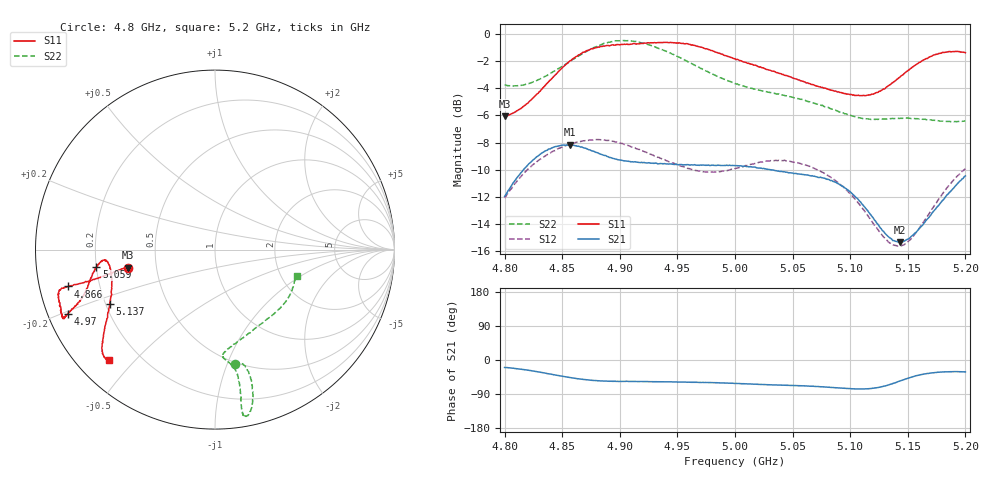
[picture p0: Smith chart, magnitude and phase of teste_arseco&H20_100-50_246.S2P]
! Network Analyzer HP8722D
! Hewlett-Packard
! Data name: Linha & Wilkinson
! Saver's name: Rodrigo Anjos
! Comments: Teste da utilização de aquisição
! continua pelo VNA HP8722D
! Time and date: 6/5/2025 14:37
!  Frequency  S11  S21  S12  S22
# HZ  S  MA R 50
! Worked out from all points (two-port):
!   401 points, 4.8 GHz to 5.2 GHz, reference 50 ohm
!   highest |S21| = -8.17 dB at 4.857 GHz (marker M1); lowest = -15.3 dB at 5.143 GHz (marker M2)
!   |S21| within 3 dB of the highest: 4.806 GHz to 5.092 GHz (286.2 MHz wide, 5.78 % of centre); 5.191623 GHz to end of sweep
!   lowest |S11| = -6.1 dB at 4.8 GHz (marker M3), VSWR 2.97, Z = 17 - j4.57 ohm
!   |S11| at or under -10 dB: nowhere
!   |S22| runs from -6.5 to -0.5 dB; largest |S21 - S12| = 0.62
!   S11 on the Smith chart (normalised r, x): 4.8 GHz: 0.34, -0.09; 4.866 GHz: 0.09, -0.12; 4.97 GHz: 0.06, -0.21; 5.059 GHz: 0.20, -0.07; 5.137 GHz: 0.22, -0.23; 5.2 GHz: 0.09, -0.42
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4.8e9  0.4967 -168.2  0.2523 -19.7  0.2491 -141.0  0.6482 -80.3
4.83e9  0.6114 -167.0  0.358 -31.8  0.3439 -145.4  0.6796 -75.2
4.857e9  0.7964 -165.9  0.3906 -46.4  0.393 -150.4  0.7928 -74.7
4.866e9  0.8422 -165.9  0.3832 -50.4  0.4017 -152.0  0.8373 -75.3
4.867e9  0.8484 -165.9  0.3835 -50.8  0.4027 -152.1  0.8429 -75.5
4.883e9  0.8967 -165.2  0.3612 -55.1  0.408 -154.8  0.91 -77.1
4.901e9  0.9137 -162.5  0.3428 -56.3  0.3954 -156.7  0.9445 -79.3
4.934e9  0.9285 -156.5  0.3327 -57.6  0.3512 -155.6  0.8822 -80.5
4.97e9  0.8942 -156.4  0.3291 -59.2  0.3125 -147.0  0.7462 -79.7
5e9  0.809 -159.1  0.3275 -61.8  0.3196 -137.3  0.6563 -81.3
5.034e9  0.7278 -165.2  0.3146 -65.9  0.3415 -134.3  0.6043 -85.6
5.059e9  0.6688 -171.6  0.3035 -68.3  0.3313 -136.1  0.5719 -84.5
5.067e9  0.6506 -173.1  0.3007 -69.2  0.3226 -136.8  0.5582 -82.6
5.085e9  0.6187 -174.4  0.2867 -72.7  0.2933 -138.4  0.5282 -75.8
5.103e9  0.5958 -171.5  0.2551 -76.1  0.2498 -138.7  0.4971 -65.3
5.117e9  0.5958 -164.9  0.2181 -75.5  0.2093 -135.0  0.4854 -55.0
5.134e9  0.6472 -154.2  0.1782 -65.1  0.1704 -120.7  0.4862 -43.2
5.137e9  0.6616 -152.6  0.1735 -62.2  0.1674 -116.9  0.4884 -41.5
5.143e9  0.6925 -149.5  0.1714 -55.8  0.1657 -108.9  0.4883 -38.0
5.154e9  0.7543 -144.5  0.1811 -44.6  0.1794 -95.1  0.4885 -32.3
5.173e9  0.8362 -138.9  0.2242 -33.3  0.2331 -80.8  0.4807 -24.3
5.2e9  0.8521 -133.7  0.3002 -31.4  0.3192 -76.9  0.4776 -17.6
